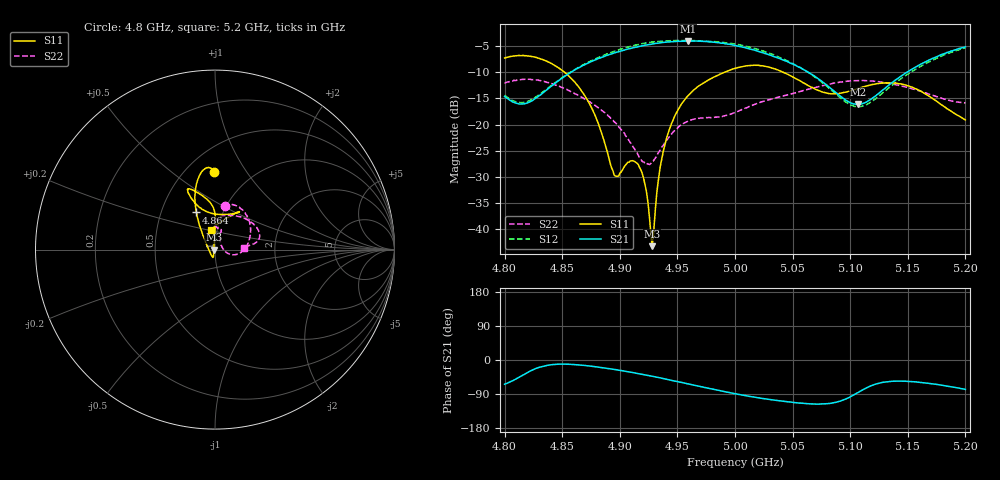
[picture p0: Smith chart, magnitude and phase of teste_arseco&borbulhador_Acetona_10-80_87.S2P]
! Network Analyzer HP8722D
! Hewlett-Packard
! Data name: Linha & Wilkinson
! Saver's name: Rodrigo Anjos
! Comments: Teste da utilização de aquisição
! continua pelo VNA HP8722D
! Time and date: 25/4/2025 15:59
!  Frequency  S11  S21  S12  S22
# HZ  S  MA R 50
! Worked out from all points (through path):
!   401 points, 4.8 GHz to 5.2 GHz, reference 50 ohm
!   highest |S21| = -3.97 dB at 4.959 GHz (marker M1); lowest = -16.1 dB at 5.107 GHz (marker M2)
!   lowest |S11| = -43.3 dB at 4.928 GHz (marker M3), VSWR 1.01, Z = 49.3 - j0.0793 ohm
!   |S11| at or under -10 dB: 4.852 GHz to 4.991 GHz (138.5 MHz wide, 2.81 % of centre); 5.042 GHz to end of sweep
!   |S22| runs from -27.7 to -11.3 dB; largest |S21 - S12| = 1.2
!   S11 on the Smith chart (normalised r, x): 4.8 GHz: 0.68, +0.72; 4.864 GHz: 0.75, +0.33; 5.2 GHz: 0.94, +0.21
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4.8e9  0.434 90.7  0.1855 -64.0  0.191 69.6  0.2477 77.5
4.82e9  0.4539 96.9  0.1616 -32.7  0.1672 98.2  0.2731 61.7
4.844e9  0.3662 106.8  0.2497 -11.5  0.2528 119.1  0.2391 35.5
4.864e9  0.2319 116.6  0.3498 -12.9  0.3524 121.0  0.1908 12.3
4.867e9  0.2088 118.2  0.3632 -13.8  0.3671 120.7  0.1828 8.8
4.88e9  0.1113 128.6  0.4229 -18.4  0.4323 118.2  0.1486 -5.1
4.896e9  0.03217 -165.2  0.4888 -25.2  0.5072 113.2  0.1045 -15.8
4.909e9  0.04469 -107.7  0.5345 -32.0  0.5601 107.6  0.06741 -14.1
4.917e9  0.03906 -103.2  0.5618 -36.3  0.589 103.6  0.04852 -1.0
4.922e9  0.02632 -106.8  0.578 -39.2  0.602 100.8  0.04216 16.1
4.928e9  0.006835 -173.2  0.5914 -42.9  0.6174 97.1  0.04363 40.7
4.93e9  0.01151 122.8  0.5963 -44.0  0.6202 95.8  0.04625 47.8
4.934e9  0.03259 99.7  0.6045 -46.7  0.6281 93.2  0.05481 57.8
4.943e9  0.08959 90.8  0.6185 -52.5  0.6369 87.6  0.07685 68.7
4.959e9  0.1878 89.5  0.6334 -62.8  0.6394 77.5  0.1072 71.4
5e9  0.3458 109.1  0.574 -89.2  0.5925 50.8  0.1306 88.4
5.03e9  0.3538 115.2  0.4654 -104.0  0.4808 33.8  0.1733 85.4
5.067e9  0.2269 105.4  0.3013 -115.9  0.2985 23.6  0.2221 57.2
5.107e9  0.2228 64.1  0.1561 -85.4  0.1481 57.7  0.2636 24.2
5.134e9  0.2513 57.2  0.2408 -56.7  0.2266 88.6  0.2483 12.5
5.167e9  0.191 68.4  0.4072 -61.2  0.3912 85.7  0.1986 7.2
5.2e9  0.1107 100.5  0.5547 -77.5  0.5438 70.2  0.1614 3.8
